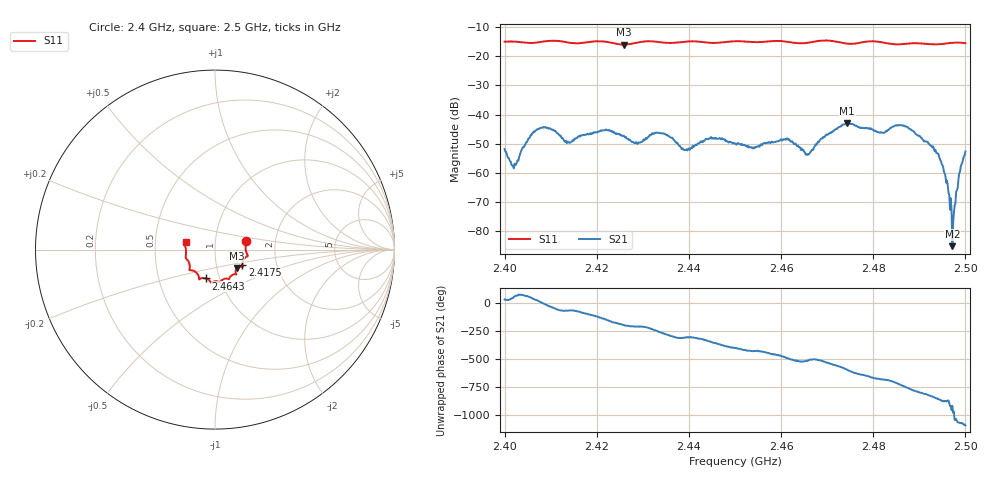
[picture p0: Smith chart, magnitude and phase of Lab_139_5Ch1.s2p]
# Hz S RI R 50
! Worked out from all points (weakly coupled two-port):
!   601 points, 2.4 GHz to 2.5 GHz, reference 50 ohm
!   highest |S21| = -42.99 dB at 2.4743 GHz (marker M1); lowest = -85.3 dB at 2.4972 GHz (marker M2)
!   lowest |S11| = -15.9 dB at 2.4258 GHz (marker M3), VSWR 1.38, Z = 62.3 - j13.3 ohm
!   |S11| at or under -10 dB: start of sweep to end of sweep
!   S12 and S22 are empty: the file has one direction only
!   S11 on the Smith chart (normalised r, x): 2.4 GHz: 1.41, +0.14; 2.4175 GHz: 1.34, -0.23; 2.4643 GHz: 0.86, -0.29; 2.5 GHz: 0.72, +0.06
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2.4e9  0.1732 0.0486  0.00208 0.00146  0 0  0 0
2.402e9  0.1757 0.0407  0.000641 0.000992  0 0  0 0
2.4075e9  0.1753 -0.0162  0.00551 0.00172  0 0  0 0
2.413667e9  0.1686 -0.0446  0.00137 -0.00314  0 0  0 0
2.416667e9  0.1529 -0.0742  0.000529 -0.00432  0 0  0 0
2.4175e9  0.1521 -0.0837  -1.08e-05 -0.0045  0 0  0 0
2.425833e9  0.1217 -0.1038  -0.00422 0.00101  0 0  0 0
2.428833e9  0.1149 -0.1302  -0.00274 0.00149  0 0  0 0
2.433333e9  0.1129 -0.1371  -0.00141 0.00462  0 0  0 0
2.439333e9  0.0799 -0.161  0.00142 0.00199  0 0  0 0
2.444333e9  0.0608 -0.1611  0.00357 0.00137  0 0  0 0
2.45e9  0.0288 -0.1809  0.00252 -0.00196  0 0  0 0
2.461167e9  -0.0266 -0.1778  -0.00234 -0.00304  0 0  0 0
2.464333e9  -0.0499 -0.161  -0.00231 -0.000782  0 0  0 0
2.466667e9  -0.0759 -0.1596  -0.00194 -0.00149  0 0  0 0
2.474333e9  -0.1004 -0.1324  -0.00423 0.00568  0 0  0 0
2.483333e9  -0.1406 -0.0901  0.00461 0.00291  0 0  0 0
2.487e9  -0.1555 -0.0561  0.00547 -0.00285  0 0  0 0
2.4935e9  -0.161 -0.00784  -0.00145 -0.00201  0 0  0 0
2.4955e9  -0.1652 0.0153  -0.000848 -0.000459  0 0  0 0
2.497167e9  -0.1699 0.0279  -5.2e-05 1.46e-05  0 0  0 0
2.5e9  -0.1639 0.0426  0.00227 -0.00043  0 0  0 0
